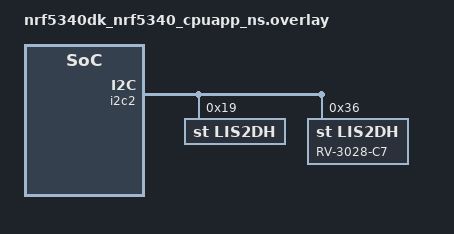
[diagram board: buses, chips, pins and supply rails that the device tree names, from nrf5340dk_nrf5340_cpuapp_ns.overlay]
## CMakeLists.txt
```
# SPDX-License-Identifier: Apache-2.0

cmake_minimum_required(VERSION 3.20.0)

find_package(Zephyr REQUIRED HINTS $ENV{ZEPHYR_BASE})
project(Smartwatch)

FILE(GLOB app_sources src/*.c)
target_sources(app PRIVATE
  ${app_sources}
  src/display/gc9a01.c
)


# zephyr_library_include_directories(${ZEPHYR_BASE}/samples/bluetooth)
```

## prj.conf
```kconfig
CONFIG_I2C=y
CONFIG_SENSOR=y
CONFIG_CBPRINTF_FP_SUPPORT=y
CONFIG_RTT_CONSOLE=y
CONFIG_USE_SEGGER_RTT=y
CONFIG_PRINTK=y
CONFIG_UART_RTT=y
CONFIG_GPIO=y

# Enable mcumgr.
CONFIG_MCUMGR=y

# Enable flash operations.
CONFIG_FLASH=y

# Required by the `taskstat` command.
CONFIG_THREAD_MONITOR=y


CONFIG_LIS2DH=y
CONFIG_LIS2DH_TRIGGER_GLOBAL_THREAD=y


# DISPLAY STUFF
CONFIG_PWM=y
CONFIG_LOG=y
CONFIG_PWM_LOG_LEVEL_DBG=y

CONFIG_SPI=y
CONFIG_DISPLAY=y
CONFIG_DISPLAY_INIT_PRIORITY=85
CONFIG_PWM=y

CONFIG_HEAP_MEM_POOL_SIZE=16384

CONFIG_THREAD_NAME=y 
CONFIG_MAIN_STACK_SIZE=4096
```

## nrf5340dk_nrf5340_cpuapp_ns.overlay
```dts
// To get started, press Ctrl+Space to bring up the completion menu and view the available nodes.

// You can also use the buttons in the sidebar to perform actions on nodes.
// Actions currently available include:

// * Enabling / disabling the node
// * Adding the bus to a bus
// * Removing the node
// * Connecting ADC channels

// For more help, browse the DeviceTree documentation at https://docs.zephyrproject.org/latest/guides/dts/index.html
// You can also visit the nRF DeviceTree extension documentation at https://nrfconnect.github.io/vscode-nrf-connect/devicetree/nrfdevicetree.html


&i2c2 {
    lis2dh@19 {
        compatible = "st,lis2dh";
        reg = <0x19>;
        label = "LIS2DH";
    };
    rtc@36 {
        compatible = "st,lis2dh";
        reg = <0x36>;
        label = "RV-3028-C7";
    };
};
```

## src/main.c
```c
#include <stddef.h>
#include <string.h>
#include <sys/printk.h>
#include <sys/byteorder.h>
#include <zephyr.h>
#include <drivers/i2c.h>
#include <drivers/sensor.h>
#include <devicetree.h>
#include <SEGGER_RTT.h>
#include <device.h>
#include <zephyr/types.h>
#include <drivers/gpio.h>
#include "display/gc9a01.h"


void main(void){

    SEGGER_RTT_Init();
	printk("RTT LOG\n\n");

	while (1) {

		k_sleep(K_SECONDS(5));

        printk("---\n");
        printk("Display init");


        lcd_spi_init();
        GC9A01_init();
        struct GC9A01_frame frame = {{0, 0}, {239, 239}};
        GC9A01_set_frame(frame);
    }

}
```

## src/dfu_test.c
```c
/*

#include <zephyr/types.h>
#include <stddef.h>
#include <string.h>
#include <errno.h>
#include <sys/printk.h>
#include <sys/byteorder.h>
#include <zephyr.h>
#include <bluetooth/bluetooth.h>
#include <bluetooth/hci.h>
#include <bluetooth/conn.h>
#include <bluetooth/uuid.h>
#include <bluetooth/gatt.h>
#include <bluetooth/services/bas.h>
#include <bluetooth/services/hrs.h>
#include <drivers/i2c.h>
#include <drivers/sensor.h>
#include <devicetree.h>



static const struct bt_data ad[] = {
	BT_DATA_BYTES(BT_DATA_FLAGS, (BT_LE_AD_GENERAL | BT_LE_AD_NO_BREDR)),
	BT_DATA_BYTES(BT_DATA_UUID16_ALL,
		      BT_UUID_16_ENCODE(BT_UUID_HRS_VAL),
		      BT_UUID_16_ENCODE(BT_UUID_BAS_VAL),
		      BT_UUID_16_ENCODE(BT_UUID_DIS_VAL))
};

static void connected(struct bt_conn *conn, uint8_t err)
{
	if (err) {
		printk("Connection failed (err 0x%02x)\n", err);
	} else {
		printk("Connected\n");
	}
}

static void disconnected(struct bt_conn *conn, uint8_t reason)
{
	printk("Disconnected (reason 0x%02x)\n", reason);
}

BT_CONN_CB_DEFINE(conn_callbacks) = {
	.connected = connected,
	.disconnected = disconnected,
};

static void bt_ready(void)
{
	int err;

	printk("Bluetooth initialized\n");

	err = bt_le_adv_start(BT_LE_ADV_CONN_NAME, ad, ARRAY_SIZE(ad), NULL, 0);
	if (err) {
		printk("Advertising failed to start (err %d)\n", err);
		return;
	}

	printk("Advertising successfully started\n");
}

static void auth_cancel(struct bt_conn *conn)
{
	char addr[BT_ADDR_LE_STR_LEN];

	bt_addr_le_to_str(bt_conn_get_dst(conn), addr, sizeof(addr));

	printk("Pairing cancelled: %s\n", addr);
}

static struct bt_conn_auth_cb auth_cb_display = {
	.cancel = auth_cancel,
};






//LIS2DE12TR

void i2c_scan(void)
{
    const struct device *i2c_dev;
    int i, dev_count = 0;

    i2c_dev = DEVICE_DT_GET(DT_NODELABEL(i2c2));

    if (i2c_dev == NULL) {
        printk("Scanning I2C bus for devices....\n");
        return;
    }

    printk("Scanning I2C bus for devices....\n");



	for (i = 0; i < 128; ++i) {
        uint8_t dummy_data;
        int ret;

        struct i2c_msg msgs[1] = {
            {
                .buf = &dummy_data,
                .len = 0,
                .flags = I2C_MSG_READ,
            }
        };

        ret = i2c_transfer(i2c_dev, &msgs[0], 1, i);

        if (ret == 0 || ret == -ENODEV) {
            // If ret == 0, device acknowledged the address
            // If ret == -ENODEV, no device responded
            printk("I2C device found at Address 0x%02X\n", i);
            dev_count++;
        }
    }

	if (dev_count == 0) {
        printk("No I2C devices found.\n");
        
    }
	
    printk("I2C scan complete with device count: %d\n", dev_count);

}


void i2c_scan(void)
{
    const struct device *i2c_dev;
    int i, dev_count = 0;

    i2c_dev = DEVICE_DT_GET(DT_NODELABEL(i2c2));

    if (i2c_dev == NULL) {
        printk("I2C: Device not found!\n");
        return;
    }

    printk("Scanning I2C bus for devices....\n");

	

	for (i = 0; i < 128; ++i) {
        uint8_t dummy_data;
        int ret;

        struct i2c_msg msgs[1] = {
            {
                .buf = &dummy_data,
                .len = 0,
                .flags = I2C_MSG_READ,
            }
        };

        ret = i2c_transfer(i2c_dev, &msgs[0], 1, i);

        if (ret == 0 || ret == -ENODEV) {
            // If ret == 0, device acknowledged the address
            // If ret == -ENODEV, no device responded
            printk("I2C device found at address 0x%02X\n", i);
            dev_count++;
        }
    }
	

    printk("I2C scan complete.\n");

	
}



void main(void)
{
	int err;

	os_mgmt_register_group();
	img_mgmt_register_group();
	stat_mgmt_register_group();

	err = bt_enable(NULL);
	if (err) {
		printk("Bluetooth init failed (err %d)\n", err);
		return;
	}

	bt_ready();

	//bt_conn_cb_register(&conn_callbacks);
	bt_conn_auth_cb_register(&auth_cb_display);

	err = smp_bt_register();

	if (err) {
	printk("SMP BT register failed (err: %d)", err);
	}


	while (1) {
		k_sleep(K_SECONDS(1));
		printk("----\n");

		
		//#########################################pragma endregion

		i2c_scan();
		
	}	
}





CONFIG_BT=y
CONFIG_BT_DEBUG_LOG=y
CONFIG_BT_SMP=y
CONFIG_BT_PERIPHERAL=y
CONFIG_BT_DIS=y
CONFIG_BT_DIS_PNP=n
CONFIG_BT_BAS=y
CONFIG_BT_HRS=y
CONFIG_BT_DEVICE_NAME="Smartwatch"
CONFIG_BT_DEVICE_APPEARANCE=194


CONFIG_STDOUT_CONSOLE=y
CONFIG_I2C=y
CONFIG_GPIO=y
CONFIG_SENSOR=y
CONFIG_CBPRINTF_FP_SUPPORT=y
CONFIG_RTT_CONSOLE=y
CONFIG_USE_SEGGER_RTT=y
CONFIG_PRINTK=y

# Enable mcumgr.
CONFIG_MCUMGR=y

# Enable flash operations.
CONFIG_FLASH=y

# Required by the `taskstat` command.
CONFIG_THREAD_MONITOR=y


# Some command handlers require a large stack.
CONFIG_SYSTEM_WORKQUEUE_STACK_SIZE=2048

# Ensure an MCUboot-compatible binary is generated.
CONFIG_BOOTLOADER_MCUBOOT=y



# Enable statistics and statistic names.
CONFIG_STATS=y
CONFIG_STATS_NAMES=y

# Enable most core commands.
CONFIG_MCUMGR_CMD_IMG_MGMT=y
CONFIG_MCUMGR_CMD_OS_MGMT=y
CONFIG_MCUMGR_CMD_STAT_MGMT=y

# Allow for large Bluetooth data packets.
CONFIG_BT_L2CAP_TX_MTU=252
CONFIG_BT_BUF_ACL_RX_SIZE=256

# Enable the Bluetooth (unauthenticated) and shell mcumgr transports.
CONFIG_MCUMGR_SMP_BT=y
CONFIG_MCUMGR_SMP_BT_AUTHEN=n
CONFIG_MCUMGR_SMP_SHELL=y

*/
```
